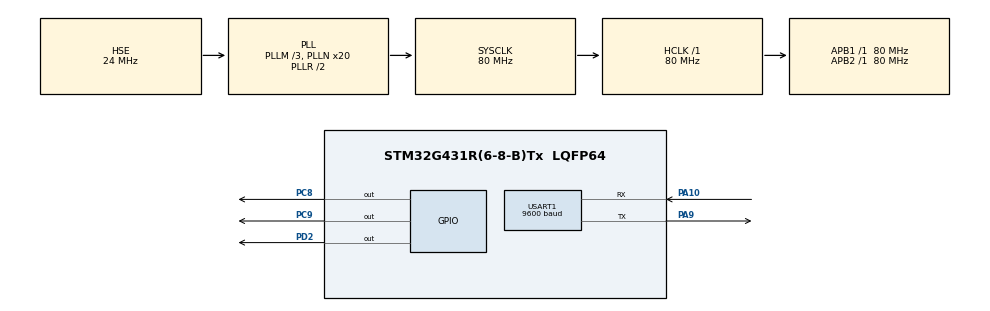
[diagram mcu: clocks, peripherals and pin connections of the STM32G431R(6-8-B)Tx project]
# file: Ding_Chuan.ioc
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Mcu.Family=STM32G4
Mcu.Name=STM32G431R(6-8-B)Tx
Mcu.Package=LQFP64
NVIC.PriorityGroup=NVIC_PRIORITYGROUP_4
NVIC.TIM2_IRQn=true\:0\:0\:false\:false\:true\:true\:true
NVIC.USART1_IRQn=true\:0\:0\:false\:false\:true\:true\:true
PA10.Mode=Asynchronous
PA10.Signal=USART1_RX
PA13.Mode=Serial_Wire
PA13.Signal=SYS_JTMS-SWDIO
PA14.Mode=Serial_Wire
PA14.Signal=SYS_JTCK-SWCLK
PA9.Mode=Asynchronous
PA9.Signal=USART1_TX
PC8.PinState=GPIO_PIN_SET
PC8.Signal=GPIO_Output
PC9.PinState=GPIO_PIN_SET
PC9.Signal=GPIO_Output
PD2.Signal=GPIO_Output
PF0-OSC_IN.Mode=HSE-External-Oscillator
PF0-OSC_IN.Signal=RCC_OSC_IN
PF1-OSC_OUT.Mode=HSE-External-Oscillator
PF1-OSC_OUT.Signal=RCC_OSC_OUT
ProjectManager.HeapSize=0x200
ProjectManager.StackSize=0x400
ProjectManager.TargetToolchain=MDK-ARM V5
RCC.ADC12Freq_Value=80000000
RCC.AHBFreq_Value=80000000
RCC.APB1Freq_Value=80000000
RCC.APB1TimFreq_Value=80000000
RCC.APB2Freq_Value=80000000
RCC.APB2TimFreq_Value=80000000
RCC.CortexFreq_Value=80000000
RCC.EXTERNAL_CLOCK_VALUE=12288000
RCC.HCLKFreq_Value=80000000
RCC.HSE_VALUE=24000000
RCC.HSI48_VALUE=48000000
RCC.HSI_VALUE=16000000
RCC.LSE_VALUE=32768
RCC.PLLM=RCC_PLLM_DIV3
RCC.PLLN=20
RCC.PLLSourceVirtual=RCC_PLLSOURCE_HSE
RCC.SYSCLKFreq_VALUE=80000000
RCC.SYSCLKSource=RCC_SYSCLKSOURCE_PLLCLK
RCC.USBFreq_Value=80000000
RCC.VCOOutputFreq_Value=160000000
TIM2.PeriodNoDither=1000-1
TIM2.Prescaler=40000-1
USART1.BaudRate=9600
USART1.VirtualMode-Asynchronous=VM_ASYNC
USART1.WordLength=WORDLENGTH_8B
VP_SYS_VS_DBSignals.Mode=DisableDeadBatterySignals
VP_TIM2_VS_ClockSourceINT.Mode=Internal
board=custom

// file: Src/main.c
/* USER CODE BEGIN Header */
/**
  ******************************************************************************
  * @file           : main.c
  * @brief          : Main program body
  ******************************************************************************
  * @attention
  *
  * <h2><center>&copy; Copyright (c) 2024 STMicroelectronics.
  * All rights reserved.</center></h2>
  *
  * This software component is licensed by ST under BSD 3-Clause license,
  * the "License"; You may not use this file except in compliance with the
  * License. You may obtain a copy of the License at:
  *                        opensource.org/licenses/BSD-3-Clause
  *
  ******************************************************************************
  */
/* USER CODE END Header */

#include "main.h"
#include "tim.h"
#include "usart.h"
#include "gpio.h"

/* USER CODE BEGIN Includes */
#include "string.h"
#include "lcd.h"
#include "stdio.h"
/* USER CODE END Includes */

/* USER CODE BEGIN PD */
#define LED1_ON HAL_GPIO_WritePin(GPIOC,GPIO_PIN_8,GPIO_PIN_RESET)
#define LED1_OFF HAL_GPIO_WritePin(GPIOC,GPIO_PIN_8,GPIO_PIN_SET)
#define LED2_ON HAL_GPIO_WritePin(GPIOC,GPIO_PIN_9,GPIO_PIN_RESET)
#define LED2_OFF HAL_GPIO_WritePin(GPIOC,GPIO_PIN_9,GPIO_PIN_SET)
/* USER CODE END PD */

/* USER CODE BEGIN PV */
uint8_t hh=23,min=59,sec=0,sec05=0;
/* USER CODE END PV */

void SystemClock_Config(void);
/* USER CODE BEGIN PFP */

//开机的灯光检测
void LED_Check()
{
	LED1_ON;
	HAL_GPIO_WritePin(GPIOD,GPIO_PIN_2,GPIO_PIN_SET);
	HAL_GPIO_WritePin(GPIOD,GPIO_PIN_2,GPIO_PIN_RESET);
	HAL_Delay(200);
	LED2_ON;
	HAL_GPIO_WritePin(GPIOD,GPIO_PIN_2,GPIO_PIN_SET);
	HAL_GPIO_WritePin(GPIOD,GPIO_PIN_2,GPIO_PIN_RESET);
	HAL_Delay(200);
	LED1_OFF;
	HAL_GPIO_WritePin(GPIOD,GPIO_PIN_2,GPIO_PIN_SET);
	HAL_GPIO_WritePin(GPIOD,GPIO_PIN_2,GPIO_PIN_RESET);
	HAL_Delay(200);
	LED2_OFF;
	HAL_GPIO_WritePin(GPIOD,GPIO_PIN_2,GPIO_PIN_SET);
	HAL_GPIO_WritePin(GPIOD,GPIO_PIN_2,GPIO_PIN_RESET);
	HAL_Delay(200);

}

//频闪灯

void HAL_TIM_PeriodElapsedCallback(TIM_HandleTypeDef *htim)
{
		HAL_GPIO_TogglePin(GPIOC,GPIO_PIN_9);
		HAL_GPIO_WritePin(GPIOD,GPIO_PIN_2,GPIO_PIN_SET);
		HAL_GPIO_WritePin(GPIOD,GPIO_PIN_2,GPIO_PIN_RESET);
		sec05++;
		if(sec05==2)
		{
					sec05=0;
					sec++;
					if(sec==60)
						{

							sec=0;
							min++;
							if(min==60)
								{

									hh++;
									min=0;
								}
						}
			}

}
uint8_t Rx_dat[16];
uint8_t str1[50];

void HAL_UART_RxCpltCallback(UART_HandleTypeDef *huart)
{
	if(huart->Instance==USART1)
		{
			if(Rx_dat[0] == 0xBF && Rx_dat[2] == 0xFB)
        {
            switch(Rx_dat[1])
            {
                case 0xa1:
                    LED1_ON;
                    sprintf((char *)str1,"%d:%d:%d      LED1打开！\r\n",hh,min,sec);
                break;

                case 0xa2:
		    LED1_OFF;
		    sprintf((char *)str1,"%d:%d:%d        LED1关闭！\r\n",hh,min,sec);
		break;

	        default:
		    sprintf((char *)str1,"%d:%d:%d    这是一个错误的命令！\r\n",hh,min,sec);
		break;
	    }

            HAL_UART_Transmit(&huart1,str1,sizeof(str1),10000);
	    HAL_UART_Receive_IT(&huart1,Rx_dat,3);
        }

		}
}
/* USER CODE END PFP */

int main(void)
{

  /* MCU Configuration--------------------------------------------------------*/

  /* Reset of all peripherals, Initializes the Flash interface and the Systick. */
  HAL_Init();

  /* Configure the system clock */
  SystemClock_Config();

  /* Initialize all configured peripherals */
  MX_GPIO_Init();
  MX_TIM2_Init();
  MX_USART1_UART_Init();
  /* USER CODE BEGIN 2 */
	LCD_Init();
  LCD_SetBackColor(Black);
	LCD_Clear(Black);
	LCD_SetTextColor(White);
	HAL_GPIO_WritePin(GPIOC,GPIO_PIN_All,GPIO_PIN_SET);
	HAL_GPIO_WritePin(GPIOD,GPIO_PIN_2,GPIO_PIN_RESET);
	HAL_GPIO_WritePin(GPIOD,GPIO_PIN_2,GPIO_PIN_RESET);
	LED_Check();
	char tep[] = "XMF07欢迎你！\r\n";
	HAL_UART_Transmit(&huart1, (uint8_t*)tep,sizeof(tep), 100);
	HAL_TIM_Base_Start_IT(&htim2);

  /* USER CODE END 2 */

  /* Infinite loop */
  while (1)
  {

    /* USER CODE BEGIN 3 */
			HAL_UART_Receive_IT(&huart1,Rx_dat,3);

  }
  /* USER CODE END 3 */
}

void SystemClock_Config(void)
{
  RCC_OscInitTypeDef RCC_OscInitStruct = {0};
  RCC_ClkInitTypeDef RCC_ClkInitStruct = {0};
  RCC_PeriphCLKInitTypeDef PeriphClkInit = {0};

  /** Configure the main internal regulator output voltage
  */
  HAL_PWREx_ControlVoltageScaling(PWR_REGULATOR_VOLTAGE_SCALE1);
  /** Initializes the CPU, AHB and APB busses clocks
  */
  RCC_OscInitStruct.OscillatorType = RCC_OSCILLATORTYPE_HSE;
  RCC_OscInitStruct.HSEState = RCC_HSE_ON;
  RCC_OscInitStruct.PLL.PLLState = RCC_PLL_ON;
  RCC_OscInitStruct.PLL.PLLSource = RCC_PLLSOURCE_HSE;
  RCC_OscInitStruct.PLL.PLLM = RCC_PLLM_DIV3;
  RCC_OscInitStruct.PLL.PLLN = 20;
  RCC_OscInitStruct.PLL.PLLP = RCC_PLLP_DIV2;
  RCC_OscInitStruct.PLL.PLLQ = RCC_PLLQ_DIV2;
  RCC_OscInitStruct.PLL.PLLR = RCC_PLLR_DIV2;
  if (HAL_RCC_OscConfig(&RCC_OscInitStruct) != HAL_OK)
  {
    Error_Handler();
  }
  /** Initializes the CPU, AHB and APB busses clocks
  */
  RCC_ClkInitStruct.ClockType = RCC_CLOCKTYPE_HCLK|RCC_CLOCKTYPE_SYSCLK
                              |RCC_CLOCKTYPE_PCLK1|RCC_CLOCKTYPE_PCLK2;
  RCC_ClkInitStruct.SYSCLKSource = RCC_SYSCLKSOURCE_PLLCLK;
  RCC_ClkInitStruct.AHBCLKDivider = RCC_SYSCLK_DIV1;
  RCC_ClkInitStruct.APB1CLKDivider = RCC_HCLK_DIV1;
  RCC_ClkInitStruct.APB2CLKDivider = RCC_HCLK_DIV1;

  if (HAL_RCC_ClockConfig(&RCC_ClkInitStruct, FLASH_LATENCY_3) != HAL_OK)
  {
    Error_Handler();
  }
  /** Initializes the peripherals clocks
  */
  PeriphClkInit.PeriphClockSelection = RCC_PERIPHCLK_USART1;
  PeriphClkInit.Usart1ClockSelection = RCC_USART1CLKSOURCE_PCLK2;
  if (HAL_RCCEx_PeriphCLKConfig(&PeriphClkInit) != HAL_OK)
  {
    Error_Handler();
  }
}

void Error_Handler(void)
{
}

/************************ (C) COPYRIGHT STMicroelectronics *****END OF FILE****/
